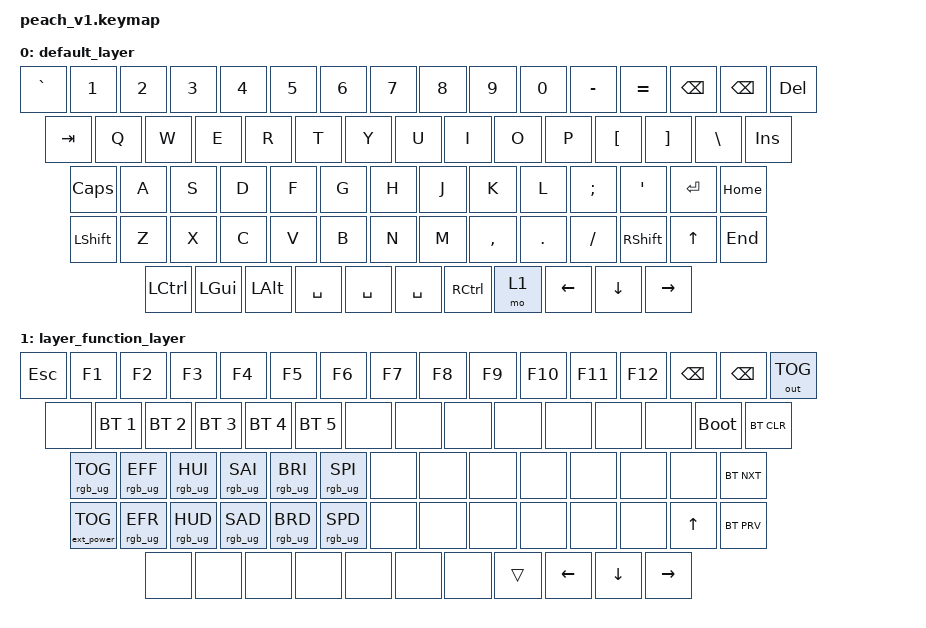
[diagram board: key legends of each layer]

/*
 * Copyright (c) 2020 The ZMK Contributors
 *
 * SPDX-License-Identifier: MIT
 */


/* THIS FILE WAS GENERATED!
 *
 * This file was generated automatically. You may or may not want to
 * edit it directly.
 */

#include <behaviors.dtsi>
#include <dt-bindings/zmk/keys.h>
#include <dt-bindings/zmk/outputs.h>
#include <dt-bindings/zmk/bt.h>
#include <dt-bindings/zmk/rgb.h>
#include <dt-bindings/zmk/ext_power.h>

/ {
    keymap {
        compatible = "zmk,keymap";


        default_layer {
            bindings = <
  &kp GRAVE    &kp N1    &kp N2  &kp N3     &kp N4  &kp N5               &kp N6  &kp N7     &kp N8     &kp N9      &kp N0  &kp MINUS  &kp EQUAL    &kp BSPC   &kp BSPC    &kp DEL
    &kp TAB     &kp Q     &kp W   &kp E      &kp R   &kp T                &kp Y   &kp U      &kp I      &kp O       &kp P              &kp LBKT    &kp RBKT   &kp BSLH    &kp INS
   &kp CAPS     &kp A     &kp S   &kp D      &kp F   &kp G                &kp H   &kp J      &kp K      &kp L               &kp SEMI   &kp APOS              &kp ENTER   &kp HOME
 &kp LSHIFT               &kp Z   &kp X      &kp C   &kp V                &kp B   &kp N      &kp M  &kp COMMA  &kp PERIOD  &kp SLASH             &kp RSHIFT     &kp UP    &kp END
  &kp LCTRL  &kp LGUI  &kp LALT          &kp SPACE                    &kp SPACE          &kp SPACE              &kp RCTRL      &mo 1               &kp LEFT   &kp DOWN  &kp RIGHT
            >;
        };

        layer_function_layer {
            bindings = <
           &kp ESC           &kp F1           &kp F2           &kp F3           &kp F4           &kp F5                     &kp F6  &kp F7  &kp F8  &kp F9  &kp F10  &kp F11  &kp F12  &kp BSPC     &kp BSPC  &out OUT_TOG
             &none     &bt BT_SEL 1     &bt BT_SEL 2     &bt BT_SEL 3     &bt BT_SEL 4     &bt BT_SEL 5                      &none   &none   &none   &none    &none             &none     &none  &bootloader    &bt BT_CLR
   &rgb_ug RGB_TOG  &rgb_ug RGB_EFF  &rgb_ug RGB_HUI  &rgb_ug RGB_SAI  &rgb_ug RGB_BRI  &rgb_ug RGB_SPI                      &none   &none   &none   &none             &none    &none                  &none    &bt BT_NXT
 &ext_power EP_TOG                   &rgb_ug RGB_EFR  &rgb_ug RGB_HUD  &rgb_ug RGB_SAD  &rgb_ug RGB_BRD            &rgb_ug RGB_SPD   &none   &none   &none    &none    &none              &none       &kp UP    &bt BT_PRV
             &none            &none            &none                             &none                                       &none           &none            &none   &trans           &kp LEFT     &kp DOWN     &kp RIGHT
            >;
        };

    };
};
